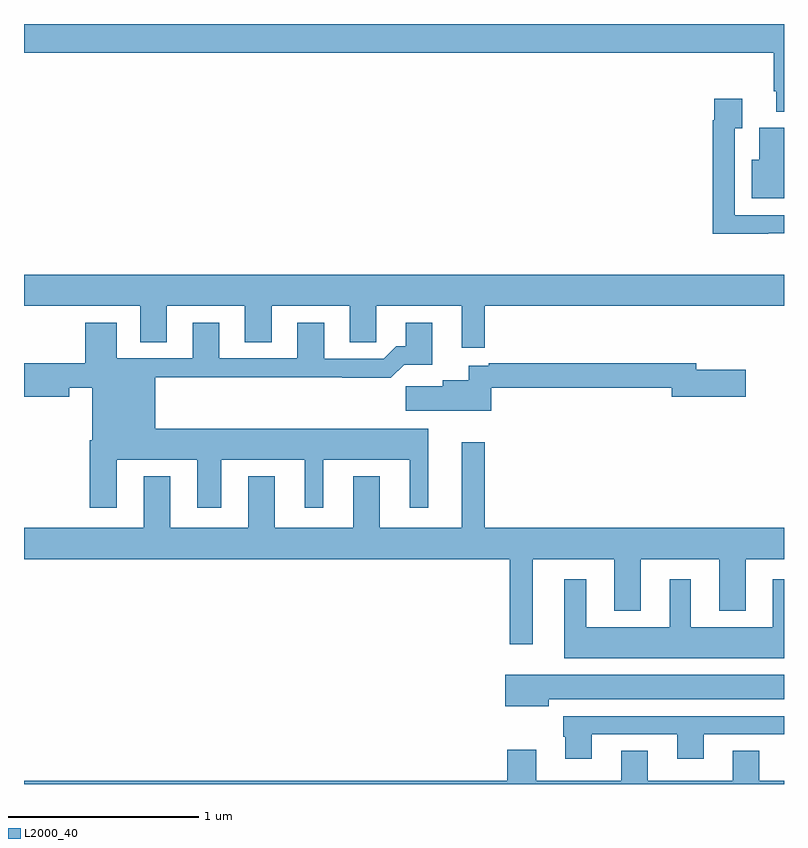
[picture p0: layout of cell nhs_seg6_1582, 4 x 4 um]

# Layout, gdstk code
import gdstk
lib = gdstk.Library(unit=1e-6, precision=1e-09)
def P(c, l, *ps):  # polygons
    for p in ps: c.add(gdstk.Polygon(p, *l))
L2000_40 = (2000, 40)

nhs_seg6_1582 = lib.new_cell('nhs_seg6_1582')
P(nhs_seg6_1582, L2000_40, [(211,935.5),(207,935.5),(207,935.348),(210.947,935.348),(210.947,935.146),(210.959,935.146),(210.959,935.039),(211,935.039)],
  [(210.917,934.398),(211,934.398),(211,934.494),(210.741,934.494),(210.741,934.951),(210.781,934.951),(210.781,935.107),(210.633,935.107),(210.633,934.994),(210.625,934.994),(210.625,934.397),(210.917,934.397)],
  [(211,934.954),(210.869,934.954),(210.869,934.786),(210.83,934.786),(210.83,934.583),(211,934.583)],
  [(207,934.016),(207.611,934.016),(207.611,933.826),(207.751,933.826),(207.751,934.016),(208.163,934.016),(208.163,933.826),(208.303,933.826),(208.303,934.016),(208.715,934.016),(208.715,933.826),(208.854,933.826),(208.854,934.016),(209.303,934.016),(209.303,933.795),(209.425,933.795),(209.425,934.016),(211,934.016),(211,934.18),(207,934.18)],
  [(207.487,933.206),(207.911,933.206),(207.911,932.955),(208.039,932.955),(208.039,933.206),(208.478,933.206),(208.478,932.955),(208.576,932.955),(208.576,933.206),(209.03,933.206),(209.03,932.955),(209.128,932.955),(209.128,933.37),(207.691,933.37),(207.691,933.64),(208.675,933.64),(208.675,933.638),(208.931,933.638),(209,933.707),(209.149,933.707),(209.149,933.928),(209.009,933.928),(209.009,933.805),(208.96,933.805),(208.893,933.738),(208.579,933.738),(208.579,933.928),(208.439,933.928),(208.439,933.741),(208.027,933.741),(208.027,933.928),(207.887,933.928),(207.887,933.741),(207.487,933.741),(207.487,933.928),(207.323,933.928),(207.323,933.715),(207,933.715),(207,933.539),(207.238,933.539),(207.238,933.586),(207.359,933.586),(207.359,933.31),(207.347,933.31),(207.347,932.955),(207.487,932.955)],
  [(209.459,933.586),(210.41,933.586),(210.41,933.539),(210.799,933.539),(210.799,933.681),(210.538,933.681),(210.538,933.715),(209.446,933.715),(209.446,933.702),(209.342,933.702),(209.342,933.625),(209.204,933.625),(209.204,933.593),(209.01,933.593),(209.01,933.464),(209.459,933.464)],
  [(209.677,932.684),(210.107,932.684),(210.107,932.411),(210.247,932.411),(210.247,932.684),(210.659,932.684),(210.659,932.411),(210.799,932.411),(210.799,932.684),(211,932.684),(211,932.848),(209.425,932.848),(209.425,933.298),(209.303,933.298),(209.303,932.848),(208.873,932.848),(208.873,933.121),(208.733,933.121),(208.733,932.848),(208.321,932.848),(208.321,933.121),(208.181,933.121),(208.181,932.848),(207.769,932.848),(207.769,933.121),(207.629,933.121),(207.629,932.848),(207,932.848),(207,932.684),(209.556,932.684),(209.556,932.235),(209.677,932.235)],
  [(211,932.578),(210.941,932.578),(210.941,932.326),(210.508,932.326),(210.508,932.578),(210.398,932.578),(210.398,932.326),(209.959,932.326),(209.959,932.578),(209.843,932.578),(209.843,932.162),(211,932.162)],
  [(209.761,931.946),(211,931.946),(211,932.074),(209.532,932.074),(209.532,931.91),(209.761,931.91)],
  [(209.989,931.761),(210.437,931.761),(210.437,931.632),(210.577,931.632),(210.577,931.761),(211,931.761),(211,931.857),(209.837,931.857),(209.837,931.749),(209.849,931.749),(209.849,931.632),(209.989,931.632)],
  [(211,931.516),(210.871,931.516),(210.871,931.676),(210.731,931.676),(210.731,931.516),(210.283,931.516),(210.283,931.676),(210.143,931.676),(210.143,931.516),(209.695,931.516),(209.695,931.681),(209.543,931.681),(209.543,931.516),(207,931.516),(207,931.5),(211,931.5)])

lib.write_gds('nhs_seg6_1582.gds')
